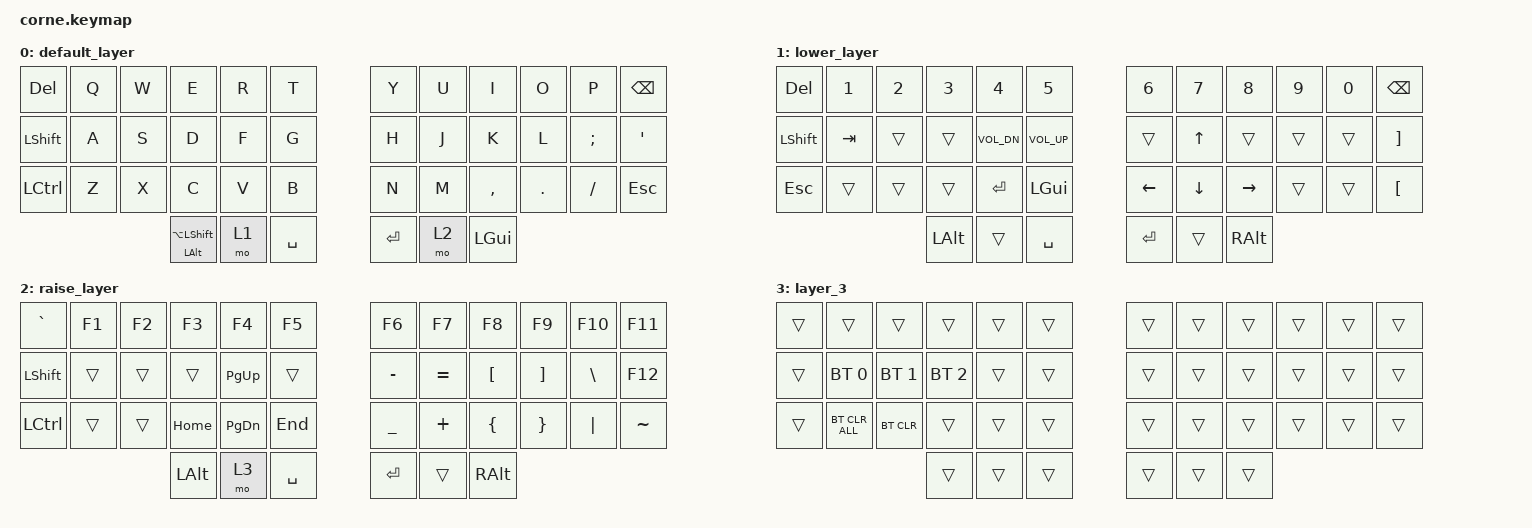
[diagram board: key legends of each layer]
/*
 * Copyright (c) 2020 The ZMK Contributors
 *
 * SPDX-License-Identifier: MIT
 */

#include <dt-bindings/zmk/mouse.h>
#include <behaviors.dtsi>
#include <dt-bindings/zmk/bt.h>
#include <dt-bindings/zmk/keys.h>
#include <dt-bindings/zmk/pointing.h>

/ {
    combos {
        compatible = "zmk,combos";

        left_scoba {
            bindings = <&kp LS(N0)>;
            key-positions = <9 10>;
            layers = <0>;
            timeout-ms = <100>;
            require-prior-idle-ms = <100>;
        };

        r_scoba {
            bindings = <&kp LS(N9)>;
            key-positions = <8 9>;
            timeout-ms = <100>;
            require-prior-idle-ms = <100>;
            layers = <0>;
        };

        caps {
            bindings = <&kp CAPSLOCK>;
            key-positions = <12 13>;
            timeout-ms = <100>;
            require-prior-idle-ms = <100>;
            layers = <0>;
        };

        r_clikc_mouse {
            bindings = <&mkp RCLK>;
            key-positions = <40 41>;
        };
    };

    keymap {
        compatible = "zmk,keymap";

        default_layer {
            // -----------------------------------------------------------------------------------------
            // |  TAB |  Q  |  W  |  E  |  R  |  T  |   |  Y  |  U   |  I  |  O  |  P  | BKSP |
            // | CTRL |  A  |  S  |  D  |  F  |  G  |   |  H  |  J   |  K  |  L  |  ;  |  '   |
            // | SHFT |  Z  |  X  |  C  |  V  |  B  |   |  N  |  M   |  ,  |  .  |  /  | ESC  |
            //                    | GUI | LWR | SPC |   | ENT | RSE  | ALT |

            bindings = <
&kp DELETE        &kp Q  &kp W  &kp E                        &kp R  &kp T        &kp Y    &kp U  &kp I         &kp O    &kp P     &kp BSPC
&kp LEFT_SHIFT    &kp A  &kp S  &kp D                        &kp F  &kp G        &kp H    &kp J  &kp K         &kp L    &kp SEMI  &kp SQT
&kp LEFT_CONTROL  &kp Z  &kp X  &kp C                        &kp V  &kp B        &kp N    &kp M  &kp COMMA     &kp DOT  &kp FSLH  &kp ESC
                                &mt LEFT_ALT LA(LEFT_SHIFT)  &mo 1  &kp SPACE    &kp RET  &mo 2  &kp LEFT_GUI
            >;
        };

        lower_layer {
            // -----------------------------------------------------------------------------------------
            // |  TAB |  1  |  2  |  3  |  4  |  5  |   |  6  |  7  |  8  |  9  |  0  | BKSP |
            // | BTCLR| BT1 | BT2 | BT3 | BT4 | BT5 |   | LFT | DWN |  UP | RGT |     |      |
            // | SHFT |     |     |     |     |     |   |     |     |     |     |     |      |
            //                    | GUI |     | SPC |   | ENT |     | ALT |

            bindings = <
&kp DELETE      &kp N1   &kp N2  &kp N3        &kp N4        &kp N5             &kp N6    &kp N7    &kp N8     &kp N9  &kp N0  &kp BSPC
&kp LEFT_SHIFT  &kp TAB  &trans  &trans        &kp C_VOL_DN  &kp C_VOLUME_UP    &trans    &kp UP    &trans     &trans  &trans  &kp RIGHT_BRACKET
&kp ESC         &trans   &trans  &trans        &kp ENTER     &kp LEFT_GUI       &kp LEFT  &kp DOWN  &kp RIGHT  &trans  &trans  &kp LEFT_BRACKET
                                 &kp LEFT_ALT  &trans        &kp SPACE          &kp RET   &trans    &kp RALT
            >;
        };

        raise_layer {
            // -----------------------------------------------------------------------------------------
            // |  TAB |  !  |  @  |  #  |  $  |  %  |   |  ^  |  &  |  *  |  (  |  )  | BKSP |
            // | CTRL |     |     |     |     |     |   |  -  |  =  |  [  |  ]  |  \  |  `   |
            // | SHFT |     |     |     |     |     |   |  _  |  +  |  {  |  }  | "|" |  ~   |
            //                    | GUI |     | SPC |   | ENT |     | ALT |

            bindings = <
&kp GRAVE         &kp F1  &kp F2  &kp F3        &kp F4     &kp F5       &kp F6     &kp F7     &kp F8    &kp F9    &kp F10   &kp F11
&kp LSHFT         &trans  &trans  &trans        &kp PG_UP  &trans       &kp MINUS  &kp EQUAL  &kp LBKT  &kp RBKT  &kp BSLH  &kp F12
&kp LEFT_CONTROL  &trans  &trans  &kp HOME      &kp PG_DN  &kp END      &kp UNDER  &kp PLUS   &kp LBRC  &kp RBRC  &kp PIPE  &kp TILDE
                                  &kp LEFT_ALT  &mo 3      &kp SPACE    &kp RET    &trans     &kp RALT
            >;
        };

        layer_3 {
            bindings = <
&trans  &trans          &trans        &trans        &trans  &trans    &trans  &trans  &trans  &trans  &trans  &trans
&trans  &bt BT_SEL 0    &bt BT_SEL 1  &bt BT_SEL 2  &trans  &trans    &trans  &trans  &trans  &trans  &trans  &trans
&trans  &bt BT_CLR_ALL  &bt BT_CLR    &trans        &trans  &trans    &trans  &trans  &trans  &trans  &trans  &trans
                                      &trans        &trans  &trans    &trans  &trans  &trans
            >;
        };
    };
};
